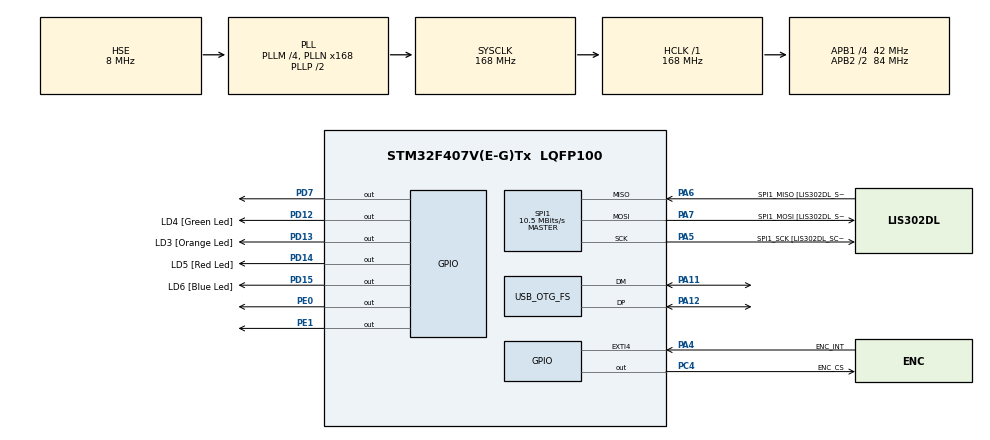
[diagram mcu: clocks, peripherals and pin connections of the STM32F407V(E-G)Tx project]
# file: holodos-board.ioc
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Mcu.Family=STM32F4
PD12.GPIO_Label=LD4 [Green Led]
PA6.Mode=Full_Duplex_Master
USB_DEVICE.CLASS_NAME_FS=CDC
PH0-OSC_IN.Signal=RCC_OSC_IN
VP_SYS_VS_tim6.Mode=TIM6
RCC.CortexFreq_Value=168000000
SPI1.VirtualType=VM_MASTER
NVIC.TIM6_DAC_IRQn=true\:0\:0\:false\:false\:true\:false\:false\:true
PD15.GPIO_Speed=GPIO_SPEED_FREQ_LOW
PA7.GPIO_Mode=GPIO_MODE_AF_PP
PA11.Mode=Device_Only
PA6.GPIO_Label=SPI1_MISO [LIS302DL_SDO]
USB_DEVICE.VirtualMode-CDC_FS=Cdc
RCC.SYSCLKSource=RCC_SYSCLKSOURCE_PLLCLK
ProjectManager.StackSize=0x4000
PA6.GPIO_Mode=GPIO_MODE_AF_PP
PD13.Signal=GPIO_Output
PD14.GPIO_Speed=GPIO_SPEED_FREQ_LOW
PA12.Signal=USB_OTG_FS_DP
SPI1.Direction=SPI_DIRECTION_2LINES
RCC.HCLKFreq_Value=168000000
RCC.APB2TimFreq_Value=168000000
SPI1.CalculateBaudRate=10.5 MBits/s
PE1.Signal=GPIO_Output
RCC.AHBFreq_Value=168000000
PH0-OSC_IN.Mode=HSE-External-Oscillator
RCC.HSE_VALUE=8000000
PC4.GPIO_Speed=GPIO_SPEED_FREQ_MEDIUM
PA6.GPIO_PuPd=GPIO_NOPULL
PC4.GPIO_Label=ENC_CS
PA5.GPIO_PuPd=GPIO_NOPULL
PD14.GPIO_PuPd=GPIO_NOPULL
VP_FREERTOS_VS_CMSIS_V1.Mode=CMSIS_V1
USB_DEVICE.APP_RX_DATA_SIZE-CDC_FS=512
PH1-OSC_OUT.Mode=HSE-External-Oscillator
PD13.GPIO_Label=LD3 [Orange Led]
Mcu.Package=LQFP100
PA6.Signal=SPI1_MISO
NVIC.TimeBase=TIM6_DAC_IRQn
PD12.Signal=GPIO_Output
NVIC.OTG_FS_IRQn=true\:0\:0\:false\:false\:true\:true\:false\:true
PD15.GPIO_PuPd=GPIO_NOPULL
NVIC.TimeBaseIP=TIM6
USB_OTG_FS.VirtualMode=Device_Only
RCC.APB2CLKDivider=RCC_HCLK_DIV2
RCC.APB1TimFreq_Value=84000000
PA6.GPIO_Speed=GPIO_SPEED_FREQ_LOW
SPI1.BaudRatePrescaler=SPI_BAUDRATEPRESCALER_8
PA4.GPIO_Label=ENC_INT
PD15.Signal=GPIO_Output
USB_DEVICE.USBD_DEBUG_LEVEL-CDC_FS=3
PA5.Mode=Full_Duplex_Master
NVIC.EXTI4_IRQn=true\:5\:0\:true\:false\:true\:false\:true\:true
PD12.GPIO_Speed=GPIO_SPEED_FREQ_LOW
FREERTOS.Tasks01=defaultTask,0,512,StartDefaultTask,Default,NULL,Dynamic,NULL,NULL
PD15.GPIO_Label=LD6 [Blue Led]
PA7.Mode=Full_Duplex_Master
USB_DEVICE.VirtualModeFS=Cdc_FS
PC4.Signal=GPIO_Output
PD7.Signal=GPIO_Output
USB_DEVICE.USBD_MAX_STR_DESC_SIZ-CDC_FS=64
RCC.APB1CLKDivider=RCC_HCLK_DIV4
ProjectManager.TargetToolchain=SW4STM32
USB_DEVICE.APP_TX_DATA_SIZE-CDC_FS=512
VP_USB_DEVICE_VS_USB_DEVICE_CDC_FS.Mode=CDC_FS
PA4.GPIO_ModeDefaultEXTI=GPIO_MODE_IT_FALLING
RCC.LSE_VALUE=32768
PA7.GPIO_PuPd=GPIO_NOPULL
PA5.Signal=SPI1_SCK
board=STM32F407G-DISC1
PD13.GPIO_Speed=GPIO_SPEED_FREQ_LOW
RCC.VCOOutputFreq_Value=336000000
PA7.GPIO_Speed=GPIO_SPEED_FREQ_LOW
RCC.APB2Freq_Value=84000000
SPI1.Mode=SPI_MODE_MASTER
PH1-OSC_OUT.Signal=RCC_OSC_OUT
PD13.GPIO_PuPd=GPIO_NOPULL
PD14.GPIO_Label=LD5 [Red Led]
Mcu.Name=STM32F407V(E-G)Tx
PE0.Signal=GPIO_Output
PD14.Signal=GPIO_Output
RCC.48MHZClocksFreq_Value=48000000
PA4.Signal=GPXTI4
RCC.SYSCLKFreq_VALUE=168000000
PA7.GPIO_Label=SPI1_MOSI [LIS302DL_SDA/SDI/SDO]
FREERTOS.configUSE_COUNTING_SEMAPHORES=1
PA12.Mode=Device_Only
PA5.GPIO_Label=SPI1_SCK [LIS302DL_SCL/SPC]
PA11.Signal=USB_OTG_FS_DM
ProjectManager.HeapSize=0x2000
RCC.HSI_VALUE=16000000
PA5.GPIO_Speed=GPIO_SPEED_FREQ_LOW
RCC.PLLQ=7
NVIC.PriorityGroup=NVIC_PRIORITYGROUP_4
RCC.PLLM=4
RCC.PLLN=168
RCC.APB1Freq_Value=42000000
PA5.GPIO_Mode=GPIO_MODE_AF_PP
PD12.GPIO_PuPd=GPIO_NOPULL
PA7.Signal=SPI1_MOSI

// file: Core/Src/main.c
/* USER CODE BEGIN Header */
/**
  ******************************************************************************
  * @file           : main.c
  * @brief          : Main program body
  ******************************************************************************
  * @attention
  *
  * <h2><center>&copy; Copyright (c) 2020 STMicroelectronics.
  * All rights reserved.</center></h2>
  *
  * This software component is licensed by ST under BSD 3-Clause license,
  * the "License"; You may not use this file except in compliance with the
  * License. You may obtain a copy of the License at:
  *                        opensource.org/licenses/BSD-3-Clause
  *
  ******************************************************************************
  */
/* USER CODE END Header */
#include "main.h"
#include "cmsis_os.h"
#include "usb_device.h"

/* USER CODE BEGIN Includes */
#include "usbd_cdc_if.h"
#include <stdio.h>
#include "lwip/netif.h"
#include "lwip/tcpip.h"
#include "ethernetif.h"
#include "app_ethernet.h"
#include "httpserver-netconn.h"
/* USER CODE END Includes */

SPI_HandleTypeDef hspi1;

osThreadId defaultTaskHandle;
/* USER CODE BEGIN PV */
struct netif gnetif; /* network interface structure */
/* Semaphore to signal Ethernet Link state update */
osSemaphoreId Netif_IRQSemaphore = NULL;
/* Ethernet link thread Argument */
struct enc_irq_str irq_arg;
/* USER CODE END PV */

void SystemClock_Config(void);
static void MX_GPIO_Init(void);
static void MX_SPI1_Init(void);
void StartDefaultTask(void const * argument);

/* USER CODE BEGIN 0 */
int _write (int fd, char *pBuffer, int size)
{
//    char newBuffer[size + 1];
//    sprintf(newBuffer, "a%s", pBuffer);
    while (CDC_Transmit_FS((unsigned char*)pBuffer, size) != USBD_OK);
//    while (CDC_Transmit_FS((unsigned char*)"\r\n", 2) != USBD_OK);
    return 0;
}

static void ToggleLed6(void const * argument)
{
    for( ;; )
    {
        /* Toggle LED3 each 250ms */
        HAL_GPIO_TogglePin(GPIOD, LD6_Pin);

        osDelay(250);
    }
}

/* USER CODE END 0 */

int main(void)
{

  /* MCU Configuration--------------------------------------------------------*/

  /* Reset of all peripherals, Initializes the Flash interface and the Systick. */
  HAL_Init();

  /* USER CODE BEGIN Init */
    NVIC_SetPriorityGrouping( NVIC_PRIORITYGROUP_4);
  /* USER CODE END Init */

  /* Configure the system clock */
  SystemClock_Config();

  /* Initialize all configured peripherals */
  MX_GPIO_Init();
  MX_SPI1_Init();
  /* USER CODE BEGIN 2 */
  MX_USB_DEVICE_Init();
  /* USER CODE END 2 */

  /* Create the thread(s) */
  /* definition and creation of defaultTask */
  osThreadDef(defaultTask, StartDefaultTask, osPriorityNormal, 0, 512);
  defaultTaskHandle = osThreadCreate(osThread(defaultTask), NULL);

  /* Start scheduler */
  osKernelStart();

  /* We should never get here as control is now taken by the scheduler */
  /* Infinite loop */
  while (1)
  {

  }
}

void SystemClock_Config(void)
{
  RCC_OscInitTypeDef RCC_OscInitStruct = {0};
  RCC_ClkInitTypeDef RCC_ClkInitStruct = {0};

  /** Configure the main internal regulator output voltage
  */
  __HAL_RCC_PWR_CLK_ENABLE();
  __HAL_PWR_VOLTAGESCALING_CONFIG(PWR_REGULATOR_VOLTAGE_SCALE1);
  /** Initializes the RCC Oscillators according to the specified parameters
  * in the RCC_OscInitTypeDef structure.
  */
  RCC_OscInitStruct.OscillatorType = RCC_OSCILLATORTYPE_HSE;
  RCC_OscInitStruct.HSEState = RCC_HSE_ON;
  RCC_OscInitStruct.PLL.PLLState = RCC_PLL_ON;
  RCC_OscInitStruct.PLL.PLLSource = RCC_PLLSOURCE_HSE;
  RCC_OscInitStruct.PLL.PLLM = 4;
  RCC_OscInitStruct.PLL.PLLN = 168;
  RCC_OscInitStruct.PLL.PLLP = RCC_PLLP_DIV2;
  RCC_OscInitStruct.PLL.PLLQ = 7;
  if (HAL_RCC_OscConfig(&RCC_OscInitStruct) != HAL_OK)
  {
    Error_Handler();
  }
  /** Initializes the CPU, AHB and APB buses clocks
  */
  RCC_ClkInitStruct.ClockType = RCC_CLOCKTYPE_HCLK|RCC_CLOCKTYPE_SYSCLK
                              |RCC_CLOCKTYPE_PCLK1|RCC_CLOCKTYPE_PCLK2;
  RCC_ClkInitStruct.SYSCLKSource = RCC_SYSCLKSOURCE_PLLCLK;
  RCC_ClkInitStruct.AHBCLKDivider = RCC_SYSCLK_DIV1;
  RCC_ClkInitStruct.APB1CLKDivider = RCC_HCLK_DIV4;
  RCC_ClkInitStruct.APB2CLKDivider = RCC_HCLK_DIV2;

  if (HAL_RCC_ClockConfig(&RCC_ClkInitStruct, FLASH_LATENCY_5) != HAL_OK)
  {
    Error_Handler();
  }
}

static void MX_SPI1_Init(void)
{

  /* SPI1 parameter configuration*/
  hspi1.Instance = SPI1;
  hspi1.Init.Mode = SPI_MODE_MASTER;
  hspi1.Init.Direction = SPI_DIRECTION_2LINES;
  hspi1.Init.DataSize = SPI_DATASIZE_8BIT;
  hspi1.Init.CLKPolarity = SPI_POLARITY_LOW;
  hspi1.Init.CLKPhase = SPI_PHASE_1EDGE;
  hspi1.Init.NSS = SPI_NSS_SOFT;
  hspi1.Init.BaudRatePrescaler = SPI_BAUDRATEPRESCALER_16;
  hspi1.Init.FirstBit = SPI_FIRSTBIT_MSB;
  hspi1.Init.TIMode = SPI_TIMODE_DISABLE;
  hspi1.Init.CRCCalculation = SPI_CRCCALCULATION_DISABLE;
  hspi1.Init.CRCPolynomial = 10;
  if (HAL_SPI_Init(&hspi1) != HAL_OK)
  {
    Error_Handler();
  }

}

static void MX_GPIO_Init(void)
{
  GPIO_InitTypeDef GPIO_InitStruct = {0};

  /* GPIO Ports Clock Enable */
  __HAL_RCC_GPIOH_CLK_ENABLE();
  __HAL_RCC_GPIOA_CLK_ENABLE();
  __HAL_RCC_GPIOC_CLK_ENABLE();
  __HAL_RCC_GPIOD_CLK_ENABLE();
  __HAL_RCC_GPIOE_CLK_ENABLE();

  /*Configure GPIO pin Output Level */
  HAL_GPIO_WritePin(ENC_CS_GPIO_Port, ENC_CS_Pin, GPIO_PIN_RESET);

  /*Configure GPIO pin Output Level */
  HAL_GPIO_WritePin(GPIOD, LD4_Pin|LD3_Pin|LD5_Pin|LD6_Pin
                          |GPIO_PIN_7, GPIO_PIN_RESET);

  /*Configure GPIO pin Output Level */
  HAL_GPIO_WritePin(GPIOE, GPIO_PIN_0|GPIO_PIN_1, GPIO_PIN_RESET);

  /*Configure GPIO pin : ENC_INT_Pin */
  GPIO_InitStruct.Pin = ENC_INT_Pin;
  GPIO_InitStruct.Mode = GPIO_MODE_IT_FALLING;
  GPIO_InitStruct.Pull = GPIO_NOPULL;
  HAL_GPIO_Init(ENC_INT_GPIO_Port, &GPIO_InitStruct);

  /*Configure GPIO pin : ENC_CS_Pin */
  GPIO_InitStruct.Pin = ENC_CS_Pin;
  GPIO_InitStruct.Mode = GPIO_MODE_OUTPUT_PP;
  GPIO_InitStruct.Pull = GPIO_NOPULL;
  GPIO_InitStruct.Speed = GPIO_SPEED_FREQ_MEDIUM;
  HAL_GPIO_Init(ENC_CS_GPIO_Port, &GPIO_InitStruct);

  /*Configure GPIO pins : LD4_Pin LD3_Pin LD5_Pin LD6_Pin
                           PD7 */
  GPIO_InitStruct.Pin = LD4_Pin|LD3_Pin|LD5_Pin|LD6_Pin
                          |GPIO_PIN_7;
  GPIO_InitStruct.Mode = GPIO_MODE_OUTPUT_PP;
  GPIO_InitStruct.Pull = GPIO_NOPULL;
  GPIO_InitStruct.Speed = GPIO_SPEED_FREQ_LOW;
  HAL_GPIO_Init(GPIOD, &GPIO_InitStruct);

  /*Configure GPIO pins : PE0 PE1 */
  GPIO_InitStruct.Pin = GPIO_PIN_0|GPIO_PIN_1;
  GPIO_InitStruct.Mode = GPIO_MODE_OUTPUT_PP;
  GPIO_InitStruct.Pull = GPIO_NOPULL;
  GPIO_InitStruct.Speed = GPIO_SPEED_FREQ_LOW;
  HAL_GPIO_Init(GPIOE, &GPIO_InitStruct);

  /* EXTI interrupt init*/
//  HAL_NVIC_SetPriority(EXTI4_IRQn, 5, 0);
//  HAL_NVIC_EnableIRQ(EXTI4_IRQn);

}

/* USER CODE BEGIN 4 */
/**
  * @brief  Initializes the lwIP stack
  * @param  None
  * @retval None
  */
static void Netif_Config(void)
{
    struct ip_addr ipaddr;
    struct ip_addr netmask;
    struct ip_addr gw;
//    printf("Netif_Config: start\r\n");

    /* IP address setting */
    IP4_ADDR(&ipaddr, IP_ADDR0, IP_ADDR1, IP_ADDR2, IP_ADDR3);
    IP4_ADDR(&netmask, NETMASK_ADDR0, NETMASK_ADDR1 , NETMASK_ADDR2, NETMASK_ADDR3);
    IP4_ADDR(&gw, GW_ADDR0, GW_ADDR1, GW_ADDR2, GW_ADDR3);

    /* create a binary semaphore used for informing ethernetif of frame reception */
    osSemaphoreDef(Netif_SEM);
    Netif_IRQSemaphore = osSemaphoreCreate(osSemaphore(Netif_SEM) , 1);
//    HAL_GPIO_TogglePin(GPIOD, LD3_Pin);

    /* - netif_add(struct netif *netif, struct ip_addr *ipaddr,
    struct ip_addr *netmask, struct ip_addr *gw,
    void *state, err_t (* init)(struct netif *netif),
    err_t (* input)(struct pbuf *p, struct netif *netif))

    Adds your network interface to the netif_list. Allocate a struct
    netif and pass a pointer to this structure as the first argument.
    Give pointers to cleared ip_addr structures when using DHCP,
    or fill them with sane numbers otherwise. The state pointer may be NULL.

    The init function pointer must point to a initialization function for
    your ethernet netif interface. The following code illustrates it's use.*/

    netif_add(&gnetif, &ipaddr, &netmask, &gw, NULL, &ethernetif_init, &tcpip_input);
    printf("Netif_Config: netif_add completed\r\n");
    /*  Registers the default network interface. */
    netif_set_default(&gnetif);
    printf("Netif_Config: netif_set_default completed\r\n");

//    HAL_GPIO_TogglePin(GPIOD, LD4_Pin);

    if (netif_is_link_up(&gnetif))
    {
        printf("netif link up\r\n");
        /* When the netif is fully configured this function must be called.*/
        netif_set_up(&gnetif);
//        HAL_GPIO_TogglePin(GPIOD, LD3_Pin);
    }
    else
    {
        printf("netif link down\r\n");
        /* When the netif link is down this function must be called */
//        netif_set_down(&gnetif);
        netif_set_up(&gnetif);
//        HAL_GPIO_TogglePin(GPIOD, LD4_Pin);
    }

    /* Set the link callback function, this function is called on change of link status*/
    netif_set_link_callback(&gnetif, ethernetif_update_config);
//    HAL_GPIO_TogglePin(GPIOD, LD5_Pin);

    irq_arg.netif = &gnetif;
    irq_arg.semaphore = Netif_IRQSemaphore;
    /* Create the Ethernet IRQ handler thread */
    osThreadDef(IrqThr, ethernetif_process_irq, osPriorityRealtime, 0, 1024);

    osThreadCreate (osThread(IrqThr), &irq_arg);
//    HAL_GPIO_TogglePin(GPIOD, LD6_Pin);
    printf("Netif_Config: end\r\n");

}

/**
  * @brief  EXTI line detection callbacks
  * @param  GPIO_Pin: Specifies the pins connected EXTI line
  * @retval None
  */
void HAL_GPIO_EXTI_Callback(uint16_t GPIO_Pin)
{
    if (GPIO_Pin == ENC_INT_PIN)
    {
        ethernet_irq_handler(Netif_IRQSemaphore);
    }
}
/**
  * @brief  Toggle LED3 task
  * @param  pvParameters not used
  * @retval None
  */
void ToggleLed3(void const * argument)
{
    for( ;; )
    {
        /* Toggle LED3 each 250ms */
        HAL_GPIO_TogglePin(GPIOD, LD6_Pin);

        osDelay(500);
    }
}
/* USER CODE END 4 */

void StartDefaultTask(void const * argument)
{
  /* USER CODE BEGIN 5 */
    HAL_Delay(10000);
    /* Create tcp_ip stack thread */
    tcpip_init(NULL, NULL);

    /* Initilaize the LwIP stack */
    Netif_Config();

    /* Initialize webserver demo */
//    http_server_netconn_init();

    /* Notify user about the netwoek interface config */
    User_notification(&gnetif);

#ifdef USE_DHCP
    /* Start DHCPClient */
#if defined(__GNUC__)
    osThreadDef(DHCP, DHCP_thread, osPriorityBelowNormal, 0, configMINIMAL_STACK_SIZE * 5);
#else
    osThreadDef(DHCP, DHCP_thread, osPriorityBelowNormal, 0, configMINIMAL_STACK_SIZE * 2);
#endif

    osThreadCreate (osThread(DHCP), &gnetif);
#endif

    /* Start toogleLed3 task : Toggle LED3  every 250ms */
    osThreadDef(toogleLed3, ToggleLed3, osPriorityLow, 0, configMINIMAL_STACK_SIZE);
    osThreadCreate (osThread(toogleLed3), NULL);

    for( ;; )
    {
        /* Delete the Init Thread */
        osThreadTerminate(NULL);
    }
  /* USER CODE END 5 */
}

void HAL_TIM_PeriodElapsedCallback(TIM_HandleTypeDef *htim)
{
  if (htim->Instance == TIM6) {
    HAL_IncTick();
  }
}

void Error_Handler(void)
{
}

/************************ (C) COPYRIGHT STMicroelectronics *****END OF FILE****/
